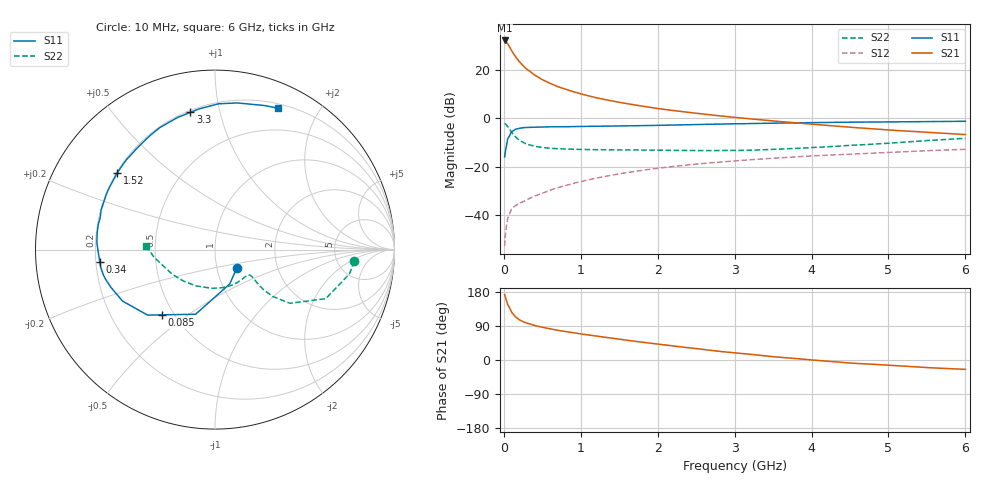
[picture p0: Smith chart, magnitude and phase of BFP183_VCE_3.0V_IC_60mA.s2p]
! Infineon Technologies  Discrete & RF Semiconductors
! BFP183
! VCE = 3.0 V,  IC =  60 mA
! Common Emitter S-Parameters:  Jan 2016
# GHz  S  MA  R  50
!  f  S11  S21  S12  S22
! GHz  MAG  ANG  MAG  ANG  MAG  ANG  MAG  ANG
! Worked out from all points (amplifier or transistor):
!   210 points, 10 MHz to 6 GHz, reference 50 ohm
!   highest |S21| = 32.0 dB at 10 MHz (marker M1)
!   |S21| within 3 dB of that: start of sweep to 79.2 MHz
!   unconditionally stable (mu >= 1): start of sweep to 32.47 MHz; 213.9 MHz to end of sweep
!   at 185 MHz: K = 0.92, MSG = 29.7 dB, |S12| = -35.4 dB
!   at 1.52 GHz: K = 1.58, MAG = 10.1 dB, |S12| = -22.8 dB
!   at 6 GHz: K = 1.21, MAG = 0.3 dB, |S12| = -12.9 dB
!   S11 on the Smith chart (normalised r, x): 10 MHz: 1.25, -0.26; 85 MHz: 0.43, -0.40; 340 MHz: 0.22, -0.05; 1.52 GHz: 0.20, +0.33; 3.3 GHz: 0.21, +0.81; 6 GHz: 0.25, +1.51
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0.01  0.1586 -39.5  39.88 172.6  0.0023 67.3  0.7782 -4.8
0.02  0.2082 -66.8  39.17 165.5  0.0038 66.8  0.7611 -10.3
0.05  0.3759 -106.7  34.25 146.3  0.0086 64.7  0.6746 -23.9
0.085  0.4682 -129.1  27.18 133.3  0.0118 53.2  0.5593 -31.4
0.1  0.5235 -135.8  24.74 125.7  0.0133 50.0  0.5138 -35.6
0.15  0.5898 -150.9  18.61 113.8  0.0157 48.2  0.412 -39.1
0.2  0.6169 -160.1  14.66 106.3  0.0175 49.9  0.352 -39.6
0.24  0.6322 -165.0  12.52 102.2  0.0186 49.8  0.3226 -39.1
0.3  0.6443 -171.3  10.14 97.1  0.021 52.0  0.2901 -37.9
0.34  0.6455 -174.1  9.171 95.0  0.0225 53.5  0.2792 -37.3
0.4  0.6502 -178.3  7.746 90.8  0.0247 55.4  0.2629 -36.4
0.5  0.6593 176.6  6.2 86.2  0.0284 56.6  0.2482 -36.1
0.6  0.663 172.1  5.223 82.1  0.0328 59.4  0.2394 -36.3
0.8  0.664 164.3  3.934 75.1  0.0408 61.4  0.231 -38.3
1.02  0.6743 156.7  3.101 68.3  0.05 61.8  0.226 -42.1
1.52  0.692 142.0  2.089 54.3  0.0723 59.6  0.2215 -53.1
2.02  0.7114 128.4  1.563 41.4  0.0932 55.6  0.2189 -66.8
3.1  0.7682 103.9  1.002 17.0  0.1351 45.0  0.2166 -103.0
3.3  0.7769 100.2  0.935 13.1  0.1421 43.0  0.2204 -110.3
4.1  0.8142 87.2  0.73 -1.5  0.1693 34.8  0.2516 -138.0
5.1  0.8382 74.7  0.557 -14.9  0.1994 26.0  0.3113 -165.4
6  0.8615 66.1  0.459 -24.8  0.2276 16.6  0.384 176.6
